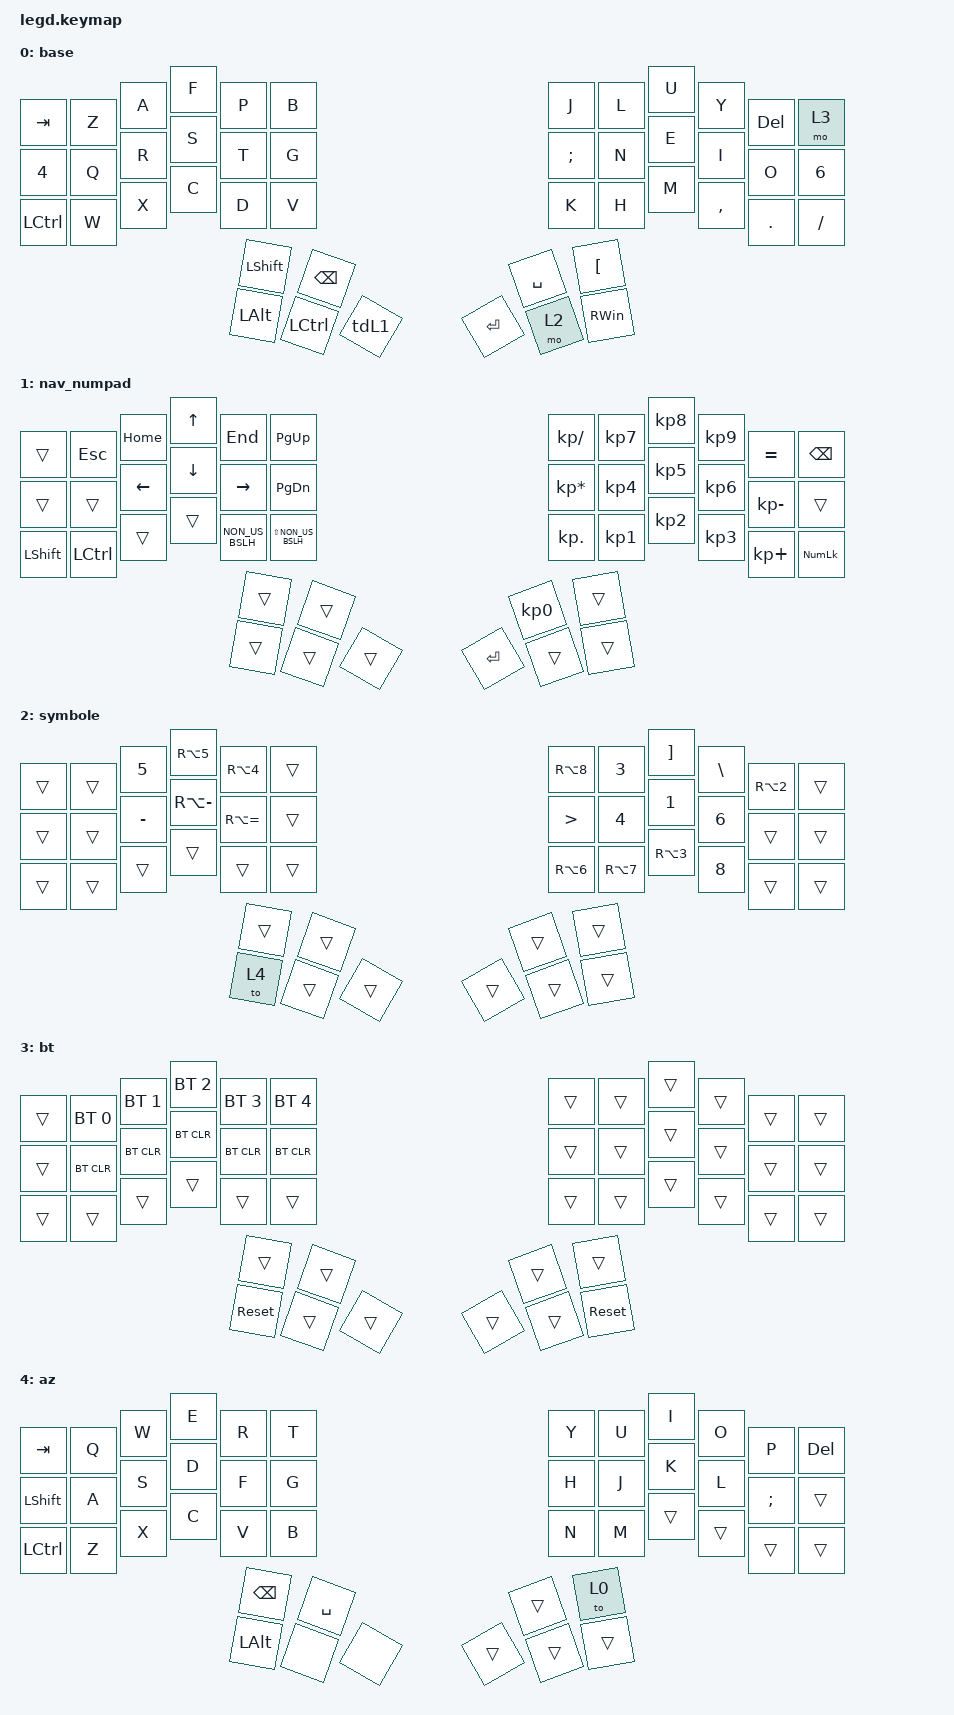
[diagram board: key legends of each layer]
#include <behaviors.dtsi>
#include <dt-bindings/zmk/bt.h>
#include <dt-bindings/zmk/keys.h>

/ {
    behaviors {
        // --- LAYERS ---
        tdL1: tap_dance_to_layer1 {
            compatible = "zmk,behavior-tap-dance";
            #binding-cells = <0>;
            tapping-term-ms = <200>;
            bindings = <&mo 1>, <&tog 1>;
        };
    };

    combos {
        compatible = "zmk,combos";
        combo_e_accute {
            timeout-ms = <50>;
            key-positions = <19 20>;
            bindings = <&kp N2>;
            layers = <0>;
        };
        combo_e_grave {
            timeout-ms = <50>;
            key-positions = <20 21>;
            bindings = <&kp N7>;
            layers = <0>;
        };
        combo_a_grave {
            timeout-ms = <50>;
            key-positions = <13 14>;
            bindings = <&kp N0>;
            layers = <0>;
        };
        combo_arobase {
            timeout-ms = <50>;
            key-positions = <13 2>;
            bindings = <&kp RA(N0)>;
            layers = <0>;
        };
        combo_c_cedilla {
            timeout-ms = <50>;
            key-positions = <27 28>;
            bindings = <&kp N9>;
            layers = <0>;
        };
        combo_u_grave {
            timeout-ms = <50>;
            key-positions = <8 9>;
            bindings = <&kp SQT>;
            layers = <0>;
        };
        combo_ampersand {
            timeout-ms = <50>;
            key-positions = <20 33>;
            bindings = <&kp N1>;
            layers = <0>;
        };
        combo_escape {
            timeout-ms = <50>;
            key-positions = <0 1>;
            bindings = <&kp ESCAPE>;
            layers = <0 4>;
        };
    };

    macros {
    };

    keymap {
        compatible = "zmk,keymap";

        // --- LAYER BASE (fix for AZERTY) ---

        base {
            bindings = <
//╭─────────────┼─────────────┼─────────────┼─────────────┼────────────────┼────────────────╮       ╭─────────────────┼───────────────┼─────────────┼─────────────┼─────────────┼─────────────╮
   &kp TAB       &kp Z         &kp A         &kp F         &kp P            &kp B                    &kp J             &kp L           &kp U         &kp Y         &kp DEL       &mo 3
//├─────────────┼─────────────┼─────────────┼─────────────┼────────────────┼────────────────┤       ├─────────────────┼───────────────┼─────────────┼─────────────┼─────────────┼─────────────┤
   &kp N4        &kp Q         &kp R         &kp S         &kp T            &kp G                    &kp SEMI          &kp N           &kp E         &kp I         &kp O         &kp N6
//├─────────────┼─────────────┼─────────────┼─────────────┼────────────────┼────────────────┤       ├─────────────────┼───────────────┼─────────────┼─────────────┼─────────────┼─────────────┤
   &kp LCTRL     &kp W         &kp X         &kp C         &kp D            &kp V                    &kp K             &kp H           &kp M         &kp COMMA     &kp DOT       &kp SLASH 
//╰─────────────┼─────────────┼─────────────┼─────────────┼────────────────┼────────────────╯       ╰─────────────────┼───────────────┼─────────────┼─────────────┼─────────────┼─────────────╯
                                             &kp LSHFT     &kp BSPC                                                    &kp SPACE       &kp LBKT
//                                          ├─────────────┼────────────────┼────────────────╮       ╭─────────────────┼───────────────┼─────────────┤
                                             &kp LALT      &kp LCTRL        &tdL1                    &kp RET           &mo 2           &kp RIGHT_WIN
//                                          ╰─────────────┴────────────────┴────────────────╯       ╰─────────────────┴───────────────┴─────────────╯
            >;
        };

        // --- LAYER nav and numpad ---

        nav_numpad {
            bindings = <
//╭──────────────┼─────────────┼─────────────┼─────────────┼────────────────┼─────────────────╮     ╭─────────────────┼─────────────────┼─────────────────┼─────────────────┼─────────────────┼───────────────╮
   &trans         &kp ESC       &kp HOME      &kp UP        &kp END          &kp PG_UP               &kp KP_DIVIDE     &kp KP_NUMBER_7   &kp KP_NUMBER_8   &kp KP_NUMBER_9   &kp EQUAL         &kp BSPC
//├──────────────┼─────────────┼─────────────┼─────────────┼────────────────┼─────────────────┤     ├─────────────────┼─────────────────┼─────────────────┼─────────────────┼─────────────────┼───────────────┤
   &trans         &trans        &kp LEFT      &kp DOWN      &kp RIGHT_ARROW  &kp PG_DN               &kp KP_MULTIPLY   &kp KP_NUMBER_4   &kp KP_NUMBER_5   &kp KP_NUMBER_6   &kp KP_SUBTRACT   &trans
//├──────────────┼─────────────┼─────────────┼─────────────┼────────────────┼─────────────────┤     ├─────────────────┼─────────────────┼─────────────────┼─────────────────┼─────────────────┼───────────────┤
   &kp LSHFT      &kp LCTRL     &trans        &trans        &kp NON_US_BSLH  &kp LS(NON_US_BSLH)     &kp KP_DOT        &kp KP_N1         &kp KP_NUMBER_2   &kp KP_NUMBER_3   &kp KP_PLUS       &kp KP_NUMLOCK
//╰──────────────┼─────────────┼─────────────┼─────────────┼────────────────┼─────────────────╯     ╰─────────────────┼─────────────────┼─────────────────┼─────────────────┼─────────────────┼───────────────╯
                                              &trans        &trans                                                     &kp KP_NUMBER_0   &trans
//                                           ├─────────────┼────────────────┼─────────────────╮     ╭─────────────────┼─────────────────┼─────────────────┤
                                              &trans        &trans           &trans                  &kp RET           &trans            &trans
//                                           ╰─────────────┴────────────────┴─────────────────╯     ╰─────────────────┴─────────────────┴─────────────────╯
            >;
        };

        // --- LAYER SYMBOLES ---

        symbole {
            bindings = <
//╭────────┼───────┼───────────┼──────────────┼──────────────┼────────╮      ╭────────────┼─────────────┼─────────────┼────────────────┼────────────┼───────────╮
   &trans   &trans  &kp N5      &kp RA(N5)     &kp RA(N4)     &trans          &kp RA(N8)   &kp N3        &kp RBKT      &kp BSLH         &kp RA(N2)   &trans
//├────────┼───────┼───────────┼──────────────┼──────────────┼────────┤      ├────────────┼─────────────┼─────────────┼────────────────┼────────────┼───────────┤
   &trans   &trans  &kp MINUS   &kp RA(MINUS)  &kp RA(EQUAL)  &trans          &kp GT       &kp N4        &kp N1        &kp N6           &trans       &trans
//├────────┼───────┼───────────┼──────────────┼──────────────┼────────┤      ├────────────┼─────────────┼─────────────┼────────────────┼────────────┼───────────┤
   &trans   &trans  &trans      &trans         &trans         &trans          &kp RA(N6)   &kp RA(N7)    &kp RA(N3)    &kp N8           &trans       &trans
//╰────────┼───────┼───────────┼──────────────┼──────────────┼────────╯      ╰────────────┼─────────────┼─────────────┼────────────────┼────────────┼───────────╯
                                &trans         &trans                                      &trans         &trans
//                             ├──────────────┼──────────────┼────────╮      ╭────────────┼─────────────┼─────────────┤
                                &to 4          &trans         &trans          &trans       &trans        &trans
//                             ╰──────────────┴──────────────┴────────╯      ╰────────────┴─────────────┴─────────────╯
            >;

        };

        // --- LAYER BLUETOOTH ---
        bt {
            bindings = <
//╭─────────────┼─────────────┼─────────────┼─────────────┼────────────────┼────────────────╮       ╭─────────────────┼───────────────┼─────────────┼─────────────┼─────────────┼─────────────╮
   &trans        &bt BT_SEL 0  &bt BT_SEL 1  &bt BT_SEL 2  &bt BT_SEL 3     &bt BT_SEL 4             &trans            &trans          &trans        &trans        &trans        &trans
//├─────────────┼─────────────┼─────────────┼─────────────┼────────────────┼────────────────┤       ├─────────────────┼───────────────┼─────────────┼─────────────┼─────────────┼─────────────┤
   &trans        &bt BT_CLR    &bt BT_CLR    &bt BT_CLR    &bt BT_CLR       &bt BT_CLR               &trans            &trans          &trans        &trans        &trans        &trans
//├─────────────┼─────────────┼─────────────┼─────────────┼────────────────┼────────────────┤       ├─────────────────┼───────────────┼─────────────┼─────────────┼─────────────┼─────────────┤
   &trans        &trans        &trans        &trans        &trans           &trans                   &trans            &trans          &trans        &trans        &trans        &trans
//╰─────────────┼─────────────┼─────────────┼─────────────┼────────────────┼────────────────╯       ╰─────────────────┼───────────────┼─────────────┼─────────────┼─────────────┼─────────────╯
                                             &trans        &trans                                                      &trans          &trans
//                                          ├─────────────┼────────────────┼────────────────╮       ╭─────────────────┼───────────────┼─────────────┤
                                             &sys_reset    &trans           &trans                   &trans            &trans          &sys_reset
//                                          ╰─────────────┴────────────────┴────────────────╯       ╰─────────────────┴───────────────┴─────────────╯
            >; 
        };       
            
        // --- LAYER AZERTY ---
        az {
            bindings = <
//╭─────────────┼─────────────┼─────────────┼─────────────┼────────────────┼────────────────╮       ╭─────────────────┼───────────────┼─────────────┼─────────────┼─────────────┼─────────────╮
   &kp TAB       &kp Q         &kp W         &kp E         &kp R            &kp T                    &kp Y             &kp U           &kp I         &kp O         &kp P         &kp DEL
//├─────────────┼─────────────┼─────────────┼─────────────┼────────────────┼────────────────┤       ├─────────────────┼───────────────┼─────────────┼─────────────┼─────────────┼─────────────┤
   &kp LSHFT     &kp A         &kp S         &kp D         &kp F            &kp G                    &kp H             &kp J           &kp K         &kp L         &kp SEMI      &trans
//├─────────────┼─────────────┼─────────────┼─────────────┼────────────────┼────────────────┤       ├─────────────────┼───────────────┼─────────────┼─────────────┼─────────────┼─────────────┤
   &kp LCTRL     &kp Z         &kp X         &kp C         &kp V            &kp B                    &kp N             &kp M           &trans        &trans        &trans        &trans
//╰─────────────┼─────────────┼─────────────┼─────────────┼────────────────┼────────────────╯       ╰─────────────────┼───────────────┼─────────────┼─────────────┼─────────────┼─────────────╯
                                             &kp BSPC      &kp SPACE                                                   &trans          &to 0
//                                          ├─────────────┼────────────────┼────────────────╮       ╭─────────────────┼───────────────┼─────────────┤
                                             &kp LALT      &none            &none                    &trans            &trans          &trans
//                                          ╰─────────────┴────────────────┴────────────────╯       ╰─────────────────┴───────────────┴─────────────╯
            >;
        };
    };
};
